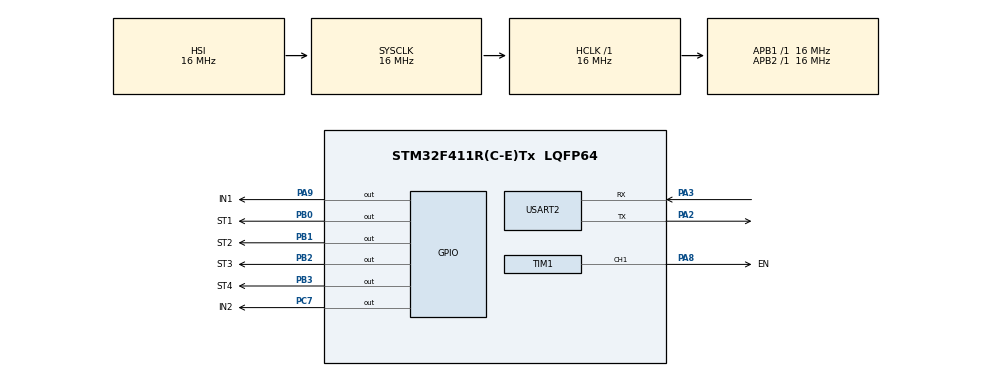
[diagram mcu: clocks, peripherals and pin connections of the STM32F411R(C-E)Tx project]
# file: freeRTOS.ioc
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FREERTOS.Tasks01=defaultTask,24,128,StartDefaultTask,Default,NULL,Dynamic,NULL,NULL;myTask02,8,128,StartTask02,Default,NULL,Dynamic,NULL,NULL;myTask03,8,128,StartTask03,Default,NULL,Dynamic,NULL,NULL
Mcu.Family=STM32F4
Mcu.Name=STM32F411R(C-E)Tx
Mcu.Package=LQFP64
NVIC.PriorityGroup=NVIC_PRIORITYGROUP_4
NVIC.USART2_IRQn=true\:5\:0\:false\:false\:true\:true\:true\:true\:true
PA2.Mode=Asynchronous
PA2.Signal=USART2_TX
PA3.Mode=Asynchronous
PA3.Signal=USART2_RX
PA8.GPIO_Label=EN
PA8.Signal=S_TIM1_CH1
PA9.GPIO_Label=IN1
PA9.Signal=GPIO_Output
PB0.GPIO_Label=ST1
PB0.Signal=GPIO_Output
PB1.GPIO_Label=ST2
PB1.Signal=GPIO_Output
PB2.GPIO_Label=ST3
PB2.Signal=GPIO_Output
PB3.GPIO_Label=ST4
PB3.Signal=GPIO_Output
PC7.GPIO_Label=IN2
PC7.Signal=GPIO_Output
ProjectManager.HeapSize=0x200
ProjectManager.StackSize=0x400
ProjectManager.TargetToolchain=STM32CubeIDE
RCC.AHBFreq_Value=16000000
RCC.APB1Freq_Value=16000000
RCC.APB2Freq_Value=16000000
RCC.CortexFreq_Value=16000000
RCC.HSE_VALUE=25000000
RCC.HSI_VALUE=16000000
RCC.LSE_VALUE=32768
RCC.SYSCLKFreq_VALUE=16000000
RCC.VCOOutputFreq_Value=192000000
SH.S_TIM1_CH1.0=TIM1_CH1,PWM Generation1 CH1
TIM1.Channel-PWM\ Generation1\ CH1=TIM_CHANNEL_1
TIM1.Period=1000
TIM1.Prescaler=16-1
USART2.VirtualMode=VM_ASYNC
VP_FREERTOS_VS_CMSIS_V2.Mode=CMSIS_V2
VP_TIM1_VS_ClockSourceINT.Mode=Internal
board=custom

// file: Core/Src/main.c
/* USER CODE BEGIN Header */
/**
 ******************************************************************************
 * @file           : main.c
 * @brief          : Main program body
 ******************************************************************************
 * @attention
 *
 * Copyright (c) 2024 STMicroelectronics.
 * All rights reserved.
 *
 * This software is licensed under terms that can be found in the LICENSE file
 * in the root directory of this software component.
 * If no LICENSE file comes with this software, it is provided AS-IS.
 *
 ******************************************************************************
 */
/* USER CODE END Header */
#include "main.h"
#include "cmsis_os.h"

/* USER CODE BEGIN Includes */
#include "uart.h"
/* USER CODE END Includes */

TIM_HandleTypeDef htim1;

UART_HandleTypeDef huart2;

/* Definitions for defaultTask */
osThreadId_t defaultTaskHandle;
const osThreadAttr_t defaultTask_attributes = { .name = "defaultTask",
		.stack_size = 128 * 4, .priority = (osPriority_t) osPriorityNormal, };
/* Definitions for myTask02 */
osThreadId_t myTask02Handle;
const osThreadAttr_t myTask02_attributes = { .name = "myTask02", .stack_size =
		128 * 4, .priority = (osPriority_t) osPriorityLow, };
/* Definitions for myTask03 */
osThreadId_t myTask03Handle;
const osThreadAttr_t myTask03_attributes = { .name = "myTask03", .stack_size =
		128 * 4, .priority = (osPriority_t) osPriorityLow, };

void SystemClock_Config(void);
static void MX_GPIO_Init(void);
static void MX_USART2_UART_Init(void);
static void MX_TIM1_Init(void);
void StartDefaultTask(void *argument);
void StartTask02(void *argument);
void StartTask03(void *argument);

int main(void) {

	/* MCU Configuration--------------------------------------------------------*/

	/* Reset of all peripherals, Initializes the Flash interface and the Systick. */
	HAL_Init();

	/* Configure the system clock */
	SystemClock_Config();

	/* Initialize all configured peripherals */
	MX_GPIO_Init();
	MX_USART2_UART_Init();
	MX_TIM1_Init();
	/* USER CODE BEGIN 2 */
	initUart(&huart2);
	//SET TIMER1
	HAL_TIM_PWM_Start(&htim1, TIM_CHANNEL_1);

	/* USER CODE END 2 */

	/* Init scheduler */
	osKernelInitialize();

	/* Create the thread(s) */
	/* creation of defaultTask */
	defaultTaskHandle = osThreadNew(StartDefaultTask, NULL,
			&defaultTask_attributes);

	/* creation of myTask02 */
	myTask02Handle = osThreadNew(StartTask02, NULL, &myTask02_attributes);

	/* creation of myTask03 */
	myTask03Handle = osThreadNew(StartTask03, NULL, &myTask03_attributes);

	/* Start scheduler */
	osKernelStart();

	/* We should never get here as control is now taken by the scheduler */
	/* Infinite loop */
	while (1) {

	}
}

void SystemClock_Config(void) {
	RCC_OscInitTypeDef RCC_OscInitStruct = { 0 };
	RCC_ClkInitTypeDef RCC_ClkInitStruct = { 0 };

	/** Configure the main internal regulator output voltage
	 */
	__HAL_RCC_PWR_CLK_ENABLE();
	__HAL_PWR_VOLTAGESCALING_CONFIG(PWR_REGULATOR_VOLTAGE_SCALE1);

	/** Initializes the RCC Oscillators according to the specified parameters
	 * in the RCC_OscInitTypeDef structure.
	 */
	RCC_OscInitStruct.OscillatorType = RCC_OSCILLATORTYPE_HSI;
	RCC_OscInitStruct.HSIState = RCC_HSI_ON;
	RCC_OscInitStruct.HSICalibrationValue = RCC_HSICALIBRATION_DEFAULT;
	RCC_OscInitStruct.PLL.PLLState = RCC_PLL_NONE;
	if (HAL_RCC_OscConfig(&RCC_OscInitStruct) != HAL_OK) {
		Error_Handler();
	}

	/** Initializes the CPU, AHB and APB buses clocks
	 */
	RCC_ClkInitStruct.ClockType = RCC_CLOCKTYPE_HCLK | RCC_CLOCKTYPE_SYSCLK
			| RCC_CLOCKTYPE_PCLK1 | RCC_CLOCKTYPE_PCLK2;
	RCC_ClkInitStruct.SYSCLKSource = RCC_SYSCLKSOURCE_HSI;
	RCC_ClkInitStruct.AHBCLKDivider = RCC_SYSCLK_DIV1;
	RCC_ClkInitStruct.APB1CLKDivider = RCC_HCLK_DIV1;
	RCC_ClkInitStruct.APB2CLKDivider = RCC_HCLK_DIV1;

	if (HAL_RCC_ClockConfig(&RCC_ClkInitStruct, FLASH_LATENCY_0) != HAL_OK) {
		Error_Handler();
	}
}

static void MX_TIM1_Init(void) {

	TIM_ClockConfigTypeDef sClockSourceConfig = { 0 };
	TIM_MasterConfigTypeDef sMasterConfig = { 0 };
	TIM_OC_InitTypeDef sConfigOC = { 0 };
	TIM_BreakDeadTimeConfigTypeDef sBreakDeadTimeConfig = { 0 };

	htim1.Instance = TIM1;
	htim1.Init.Prescaler = 16 - 1;
	htim1.Init.CounterMode = TIM_COUNTERMODE_UP;
	htim1.Init.Period = 1000;
	htim1.Init.ClockDivision = TIM_CLOCKDIVISION_DIV1;
	htim1.Init.RepetitionCounter = 0;
	htim1.Init.AutoReloadPreload = TIM_AUTORELOAD_PRELOAD_DISABLE;
	if (HAL_TIM_Base_Init(&htim1) != HAL_OK) {
		Error_Handler();
	}
	sClockSourceConfig.ClockSource = TIM_CLOCKSOURCE_INTERNAL;
	if (HAL_TIM_ConfigClockSource(&htim1, &sClockSourceConfig) != HAL_OK) {
		Error_Handler();
	}
	if (HAL_TIM_PWM_Init(&htim1) != HAL_OK) {
		Error_Handler();
	}
	sMasterConfig.MasterOutputTrigger = TIM_TRGO_RESET;
	sMasterConfig.MasterSlaveMode = TIM_MASTERSLAVEMODE_DISABLE;
	if (HAL_TIMEx_MasterConfigSynchronization(&htim1, &sMasterConfig) != HAL_OK) {
		Error_Handler();
	}
	sConfigOC.OCMode = TIM_OCMODE_PWM1;
	sConfigOC.Pulse = 0;
	sConfigOC.OCPolarity = TIM_OCPOLARITY_HIGH;
	sConfigOC.OCNPolarity = TIM_OCNPOLARITY_HIGH;
	sConfigOC.OCFastMode = TIM_OCFAST_DISABLE;
	sConfigOC.OCIdleState = TIM_OCIDLESTATE_RESET;
	sConfigOC.OCNIdleState = TIM_OCNIDLESTATE_RESET;
	if (HAL_TIM_PWM_ConfigChannel(&htim1, &sConfigOC, TIM_CHANNEL_1) != HAL_OK) {
		Error_Handler();
	}
	sBreakDeadTimeConfig.OffStateRunMode = TIM_OSSR_DISABLE;
	sBreakDeadTimeConfig.OffStateIDLEMode = TIM_OSSI_DISABLE;
	sBreakDeadTimeConfig.LockLevel = TIM_LOCKLEVEL_OFF;
	sBreakDeadTimeConfig.DeadTime = 0;
	sBreakDeadTimeConfig.BreakState = TIM_BREAK_DISABLE;
	sBreakDeadTimeConfig.BreakPolarity = TIM_BREAKPOLARITY_HIGH;
	sBreakDeadTimeConfig.AutomaticOutput = TIM_AUTOMATICOUTPUT_DISABLE;
	if (HAL_TIMEx_ConfigBreakDeadTime(&htim1, &sBreakDeadTimeConfig) != HAL_OK) {
		Error_Handler();
	}
	HAL_TIM_MspPostInit(&htim1);

}

static void MX_USART2_UART_Init(void) {

	huart2.Instance = USART2;
	huart2.Init.BaudRate = 115200;
	huart2.Init.WordLength = UART_WORDLENGTH_8B;
	huart2.Init.StopBits = UART_STOPBITS_1;
	huart2.Init.Parity = UART_PARITY_NONE;
	huart2.Init.Mode = UART_MODE_TX_RX;
	huart2.Init.HwFlowCtl = UART_HWCONTROL_NONE;
	huart2.Init.OverSampling = UART_OVERSAMPLING_16;
	if (HAL_UART_Init(&huart2) != HAL_OK) {
		Error_Handler();
	}

}

static void MX_GPIO_Init(void) {
	GPIO_InitTypeDef GPIO_InitStruct = { 0 };

	/* GPIO Ports Clock Enable */
	__HAL_RCC_GPIOA_CLK_ENABLE();
	__HAL_RCC_GPIOB_CLK_ENABLE();
	__HAL_RCC_GPIOC_CLK_ENABLE();

	/*Configure GPIO pin Output Level */
	HAL_GPIO_WritePin(GPIOB, ST1_Pin | ST2_Pin | ST3_Pin | ST4_Pin,
			GPIO_PIN_RESET);

	/*Configure GPIO pin Output Level */
	HAL_GPIO_WritePin(IN2_GPIO_Port, IN2_Pin, GPIO_PIN_RESET);

	/*Configure GPIO pin Output Level */
	HAL_GPIO_WritePin(IN1_GPIO_Port, IN1_Pin, GPIO_PIN_RESET);

	/*Configure GPIO pins : ST1_Pin ST2_Pin ST3_Pin ST4_Pin */
	GPIO_InitStruct.Pin = ST1_Pin | ST2_Pin | ST3_Pin | ST4_Pin;
	GPIO_InitStruct.Mode = GPIO_MODE_OUTPUT_PP;
	GPIO_InitStruct.Pull = GPIO_NOPULL;
	GPIO_InitStruct.Speed = GPIO_SPEED_FREQ_LOW;
	HAL_GPIO_Init(GPIOB, &GPIO_InitStruct);

	/*Configure GPIO pin : IN2_Pin */
	GPIO_InitStruct.Pin = IN2_Pin;
	GPIO_InitStruct.Mode = GPIO_MODE_OUTPUT_PP;
	GPIO_InitStruct.Pull = GPIO_NOPULL;
	GPIO_InitStruct.Speed = GPIO_SPEED_FREQ_LOW;
	HAL_GPIO_Init(IN2_GPIO_Port, &GPIO_InitStruct);

	/*Configure GPIO pin : IN1_Pin */
	GPIO_InitStruct.Pin = IN1_Pin;
	GPIO_InitStruct.Mode = GPIO_MODE_OUTPUT_PP;
	GPIO_InitStruct.Pull = GPIO_NOPULL;
	GPIO_InitStruct.Speed = GPIO_SPEED_FREQ_LOW;
	HAL_GPIO_Init(IN1_GPIO_Port, &GPIO_InitStruct);

}

void StartDefaultTask(void *argument) {
	/* USER CODE BEGIN 5 */
	/* Infinite loop */
	for (;;) {

		HAL_GPIO_WritePin(IN1_GPIO_Port, IN1_Pin, 1);
		HAL_GPIO_WritePin(IN2_GPIO_Port, IN2_Pin, 0);
		for (int i = 0; i < 1000; i++) {
			htim1.Instance->CCR1 = i;
			osDelay(1);
		}

		// 최�? ?��?�� 1�? ?��?��
		osDelay(1000);

		for (int i = 0; i < 1000; i++) {
			htim1.Instance->CCR1 = 999 - i;
			osDelay(1);
		}

		HAL_GPIO_WritePin(IN1_GPIO_Port, IN1_Pin, 0);
		HAL_GPIO_WritePin(IN2_GPIO_Port, IN2_Pin, 1);

		for (int i = 0; i < 1000; i++) {
			htim1.Instance->CCR1 = i;
			osDelay(1);
		}

		// 최�? ?��?�� 1�? ?��?��
		osDelay(1000);

		for (int i = 0; i < 1000; i++) {
			htim1.Instance->CCR1 = 999 - i;
			osDelay(1);
		}

		/* USER CODE END 5 */
	}
}
void StartTask02(void *argument) {
	/* USER CODE BEGIN StartTask02 */
	/* Infinite loop */
	uint8_t step[] = { 0b0101, 0b0110, 0b1010, 0b1001 };
	static int delay = 10;
	static int count = 0;
	for (;;) {
		ST1_GPIO_Port->ODR = step[0];
		osDelay(3);
		ST2_GPIO_Port->ODR = step[1];
		osDelay(3);
		ST3_GPIO_Port->ODR = step[2];
		osDelay(3);
		ST4_GPIO_Port->ODR = step[3];
		osDelay(3);
		if(count>100){

		}

	}
	/* USER CODE END StartTask02 */
}

void StartTask03(void *argument) {
	for (;;) {
		osDelay(1);
	}
}

void Error_Handler(void) {
	__disable_irq();
	while (1) {
	}
}
